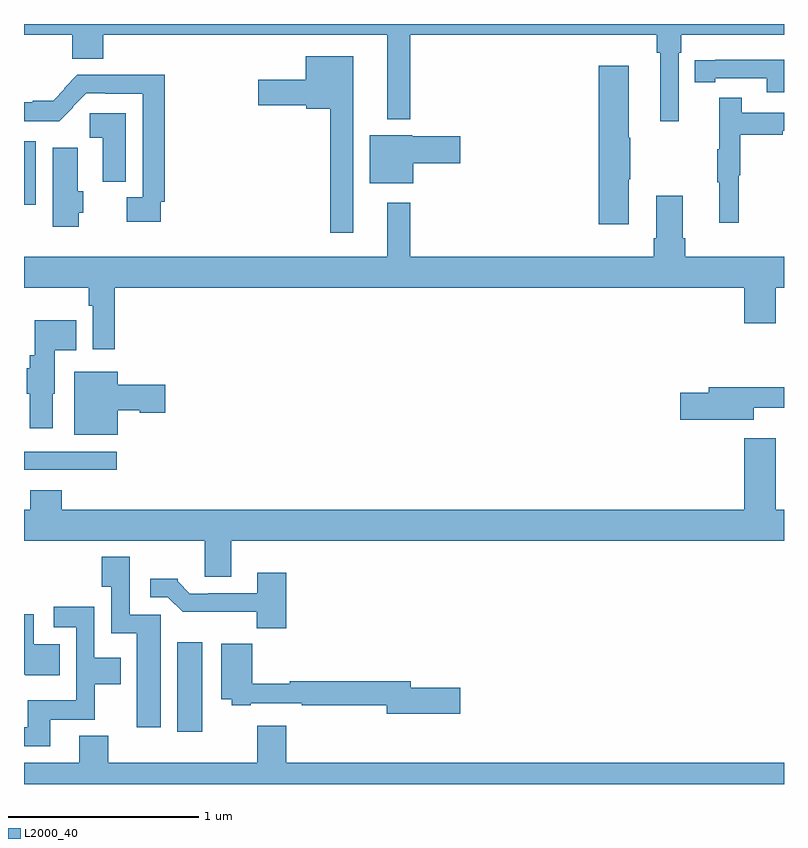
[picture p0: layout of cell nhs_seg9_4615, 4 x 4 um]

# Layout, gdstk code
import gdstk
lib = gdstk.Library(unit=1e-6, precision=1e-09)
def R(c, l, rs):  # rectangles x0, y0, x1, y1
    for r in rs: c.add(gdstk.rectangle(r[:2], r[2:], *l))
def P(c, l, *ps):  # polygons
    for p in ps: c.add(gdstk.Polygon(p, *l))
L2000_40 = (2000, 40)

nhs_seg9_4615 = lib.new_cell('nhs_seg9_4615')
R(nhs_seg9_4615, L2000_40, [(377.807,1168.776,377.938,1169.245), (377,1170.153,377.488,1170.249), (377,1171.55,377.062,1171.884)])
P(nhs_seg9_4615, L2000_40, [(380.445,1172.348),(380.459,1172.348),(380.459,1172.444),(381,1172.444),(381,1172.5),(377,1172.5),(377,1172.444),(377.255,1172.444),(377.255,1172.318),(377.416,1172.318),(377.416,1172.444),(378.911,1172.444),(378.911,1172),(379.033,1172),(379.033,1172.444),(380.329,1172.444),(380.329,1172.348),(380.348,1172.348),(380.348,1171.989),(380.445,1171.989)],
  [(378.733,1172.329),(378.482,1172.329),(378.482,1172.206),(378.234,1172.206),(378.234,1172.072),(378.486,1172.072),(378.486,1172.054),(378.612,1172.054),(378.612,1171.401),(378.733,1171.401)],
  [(381,1172.311),(380.638,1172.311),(380.638,1172.31),(380.53,1172.31),(380.53,1172.194),(380.638,1172.194),(380.638,1172.214),(380.91,1172.214),(380.91,1172.142),(381,1172.142)],
  [(380.182,1171.684),(380.19,1171.684),(380.19,1171.901),(380.182,1171.901),(380.182,1172.281),(380.024,1172.281),(380.024,1171.446),(380.182,1171.446)],
  [(377.721,1171.564),(377.741,1171.564),(377.741,1172.233),(377.281,1172.233),(377.211,1172.163),(377.215,1172.159),(377.153,1172.097),(377.045,1172.097),(377.045,1172.089),(377,1172.089),(377,1171.988),(377.185,1171.988),(377.259,1172.061),(377.256,1172.064),(377.328,1172.136),(377.428,1172.136),(377.428,1172.132),(377.625,1172.132),(377.625,1171.588),(377.542,1171.588),(377.542,1171.46),(377.721,1171.46)],
  [(380.762,1171.704),(380.77,1171.704),(380.77,1171.918),(380.993,1171.918),(380.993,1171.938),(381,1171.938),(381,1172.034),(380.777,1172.034),(380.777,1172.113),(380.66,1172.113),(380.66,1171.841),(380.649,1171.841),(380.649,1171.667),(380.66,1171.667),(380.66,1171.455),(380.762,1171.455)],
  [(377.536,1172.03),(377.346,1172.03),(377.346,1171.901),(377.414,1171.901),(377.414,1171.669),(377.536,1171.669)],
  [(379.048,1171.768),(379.297,1171.768),(379.297,1171.91),(379.044,1171.91),(379.044,1171.915),(378.821,1171.915),(378.821,1171.661),(379.048,1171.661)],
  [(377.287,1171.506),(377.311,1171.506),(377.311,1171.62),(377.284,1171.62),(377.284,1171.849),(377.15,1171.849),(377.15,1171.434),(377.287,1171.434)],
  [(380.48,1171.372),(380.467,1171.372),(380.467,1171.597),(380.327,1171.597),(380.327,1171.372),(380.315,1171.372),(380.315,1171.276),(379.033,1171.276),(379.033,1171.558),(378.911,1171.558),(378.911,1171.276),(377,1171.276),(377,1171.112),(377.341,1171.112),(377.341,1171.016),(377.361,1171.016),(377.361,1170.789),(377.477,1170.789),(377.477,1171.112),(380.792,1171.112),(380.792,1170.924),(380.956,1170.924),(380.956,1171.112),(381,1171.112),(381,1171.276),(380.48,1171.276)],
  [(377.152,1170.555),(377.161,1170.555),(377.161,1170.782),(377.276,1170.782),(377.276,1170.94),(377.057,1170.94),(377.057,1170.756),(377.03,1170.756),(377.03,1170.687),(377.015,1170.687),(377.015,1170.555),(377.03,1170.555),(377.03,1170.372),(377.152,1170.372)],
  [(377.494,1170.467),(377.61,1170.467),(377.61,1170.455),(377.743,1170.455),(377.743,1170.602),(377.494,1170.602),(377.494,1170.67),(377.264,1170.67),(377.264,1170.338),(377.494,1170.338)],
  [(380.842,1170.479),(381,1170.479),(381,1170.589),(380.603,1170.589),(380.603,1170.56),(380.454,1170.56),(380.454,1170.418),(380.842,1170.418)],
  [(378.091,1169.78),(381,1169.78),(381,1169.944),(380.956,1169.944),(380.956,1170.319),(380.792,1170.319),(380.792,1169.944),(377.198,1169.944),(377.198,1170.046),(377.033,1170.046),(377.033,1169.944),(377,1169.944),(377,1169.78),(377.951,1169.78),(377.951,1169.59),(378.091,1169.59)],
  [(377.719,1169.391),(377.556,1169.391),(377.556,1169.695),(377.408,1169.695),(377.408,1169.539),(377.46,1169.539),(377.46,1169.294),(377.594,1169.294),(377.594,1168.8),(377.719,1168.8)],
  [(378.38,1169.611),(378.227,1169.611),(378.227,1169.505),(377.971,1169.505),(377.971,1169.502),(377.872,1169.502),(377.808,1169.566),(377.808,1169.581),(377.664,1169.581),(377.664,1169.484),(377.757,1169.484),(377.836,1169.406),(378.225,1169.406),(378.225,1169.321),(378.38,1169.321)],
  [(377.137,1168.838),(377.373,1168.838),(377.373,1169.024),(377.509,1169.024),(377.509,1169.164),(377.37,1169.164),(377.37,1169.434),(377.157,1169.434),(377.157,1169.325),(377.274,1169.325),(377.274,1168.942),(377.021,1168.942),(377.021,1168.8),(377,1168.8),(377,1168.698),(377.137,1168.698)],
  [(377.189,1169.236),(377.05,1169.236),(377.05,1169.393),(377,1169.393),(377,1169.078),(377.006,1169.072),(377.189,1169.072)],
  [(379.297,1169.006),(379.036,1169.006),(379.036,1169.042),(378.398,1169.042),(378.398,1169.027),(378.2,1169.027),(378.2,1169.239),(378.038,1169.239),(378.038,1168.946),(378.093,1168.946),(378.093,1168.914),(378.193,1168.914),(378.193,1168.926),(378.463,1168.926),(378.463,1168.914),(378.908,1168.914),(378.908,1168.871),(379.297,1168.871)],
  [(381,1168.612),(378.38,1168.612),(378.38,1168.807),(378.227,1168.807),(378.227,1168.612),(377.444,1168.612),(377.444,1168.753),(377.291,1168.753),(377.291,1168.612),(377,1168.612),(377,1168.5),(381,1168.5)])

lib.write_gds('nhs_seg9_4615.gds')
